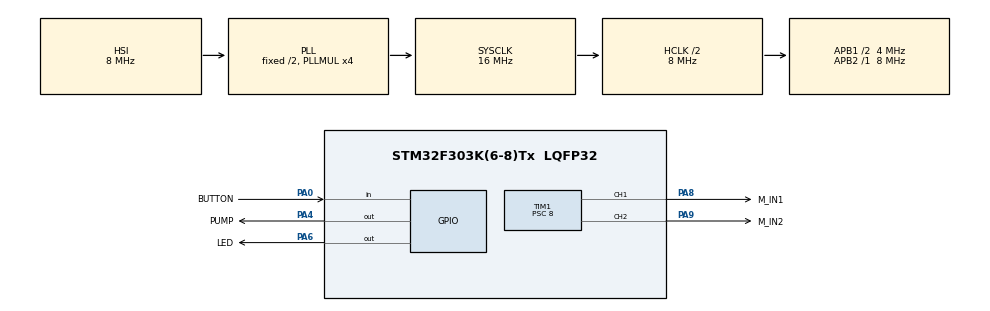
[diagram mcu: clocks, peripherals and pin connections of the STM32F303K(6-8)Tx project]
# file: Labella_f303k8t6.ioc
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Mcu.Family=STM32F3
Mcu.Name=STM32F303K(6-8)Tx
Mcu.Package=LQFP32
NVIC.PriorityGroup=NVIC_PRIORITYGROUP_4
PA0.GPIO_Label=BUTTON
PA0.Signal=GPIO_Input
PA13.Signal=SYS_JTMS-SWDIO
PA14.Signal=SYS_JTCK-SWCLK
PA4.GPIO_Label=PUMP
PA4.Signal=GPIO_Output
PA6.GPIO_Label=LED
PA6.Signal=GPIO_Output
PA8.GPIO_Label=M_IN1
PA8.Signal=S_TIM1_CH1
PA9.GPIO_Label=M_IN2
PA9.Signal=S_TIM1_CH2
PB6.Signal=USART1_TX
PB7.Signal=USART1_RX
ProjectManager.HeapSize=0x200
ProjectManager.StackSize=0x400
ProjectManager.TargetToolchain=STM32CubeIDE
RCC.AHBCLKDivider=RCC_SYSCLK_DIV2
RCC.AHBFreq_Value=8000000
RCC.APB1CLKDivider=RCC_HCLK_DIV2
RCC.APB1Freq_Value=4000000
RCC.APB1TimFreq_Value=8000000
RCC.APB2Freq_Value=8000000
RCC.APB2TimFreq_Value=8000000
RCC.CortexFreq_Value=8000000
RCC.HCLKFreq_Value=8000000
RCC.HSE_VALUE=8000000
RCC.HSI_VALUE=8000000
RCC.PLLMUL=RCC_PLL_MUL4
RCC.SYSCLKFreq_VALUE=16000000
RCC.SYSCLKSourceVirtual=RCC_SYSCLKSOURCE_PLLCLK
SH.S_TIM1_CH1.0=TIM1_CH1,PWM Generation1 CH1
SH.S_TIM1_CH2.0=TIM1_CH2,PWM Generation2 CH2
TIM1.Channel-PWM\ Generation1\ CH1=TIM_CHANNEL_1
TIM1.Channel-PWM\ Generation2\ CH2=TIM_CHANNEL_2
TIM1.OCPolarity_1=TIM_OCPOLARITY_LOW
TIM1.OCPolarity_2=TIM_OCPOLARITY_LOW
TIM1.Period=999
TIM1.Prescaler=8
TIM1.Pulse-PWM\ Generation1\ CH1=500
TIM1.Pulse-PWM\ Generation2\ CH2=500
board=custom

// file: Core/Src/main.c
/* USER CODE BEGIN Header */
/**
 ******************************************************************************
 * @file           : main.c
 * @brief          : Main program body
 ******************************************************************************
 * @attention
 *
 * Copyright (c) 2024 STMicroelectronics.
 * All rights reserved.
 *
 * This software is licensed under terms that can be found in the LICENSE file
 * in the root directory of this software component.
 * If no LICENSE file comes with this software, it is provided AS-IS.
 *
 ******************************************************************************
 */
/* USER CODE END Header */
#include "main.h"

/* USER CODE BEGIN Includes */
TIM_HandleTypeDef htim1;
#include "button.h"
#include "motor.h"
#include "pump.h"
#include "led.h"
/* USER CODE END Includes */

/* USER CODE BEGIN PTD */

#define  PERIOD_VALUE       (uint32_t)(444 - 1)  /* Period Value  */
#define  PULSE1_VALUE       (uint32_t)(PERIOD_VALUE/2)        /* Capture Compare 1 Value  */
#define  PULSE2_VALUE       (uint32_t)(PERIOD_VALUE*37.5/100) /* Capture Compare 2 Value  */
#define  PULSE3_VALUE       (uint32_t)(PERIOD_VALUE/4)        /* Capture Compare 3 Value  */
#define  PULSE4_VALUE       (uint32_t)(PERIOD_VALUE*12.5/100) /* Capture Compare 4 Value  */

/* USER CODE END PTD */

TIM_HandleTypeDef htim1;
TIM_OC_InitTypeDef sConfigOC;
STATE_t state = STATE_1;
uint8_t isButton = 0;
int time_duration = 5;
uint32_t last_action_time;
uint8_t flagFirstTime = 1;
uint32_t current_time;

/* USER CODE BEGIN PV */

/* Timer Output Compare Configuration Structure declaration */
TIM_OC_InitTypeDef sConfig;

/* Counter Prescaler value */

/* USER CODE END PV */

void SystemClock_Config(void);
static void MX_GPIO_Init(void);
static void MX_TIM1_Init(void);

int main(void)
{

	/* MCU Configuration--------------------------------------------------------*/

	/* Reset of all peripherals, Initializes the Flash interface and the Systick. */
	HAL_Init();

	/* Configure the system clock */
	SystemClock_Config();

	/* Initialize all configured peripherals */
	MX_GPIO_Init();
	MX_TIM1_Init();

	/* Infinite loop */
	/* USER CODE BEGIN WHILE */
	while (1)
	{
		button_handler();
		current_time = HAL_GetTick();

		switch(isButton){
		case 0:
		{
			break;
		}
		case 1:
		{
			switch (state)
			{
			case STATE_1:
			{
				led_on();
				pump_on();
				motorRight_on();
				motorLeft_off();
				last_action_time = HAL_GetTick();
				state = STATE_2;

				break;
			}
			case STATE_2:
			{
				if(flagFirstTime ==1)
				{
					last_action_time =HAL_GetTick();
					flagFirstTime = 0;
				}
				if((current_time - last_action_time)>= (TIME_DURATION_2))
				{
					flagFirstTime =1;
					motorRight_off();
					motorLeft_off();
					last_action_time = HAL_GetTick();
					state = STATE_3;
				}
				break;
			}
			case STATE_3:
			{
				if(flagFirstTime ==1)
				{
					last_action_time =HAL_GetTick();
					flagFirstTime = 0;
				}
				if((current_time - last_action_time)>= (TIME_DURATION_1))
				{
					flagFirstTime =1;
					motorRight_off();
					motorLeft_on();
					last_action_time = HAL_GetTick();
					state = STATE_4;
				}
				break;
			}
			case STATE_4:
			{
				if(flagFirstTime ==1)
				{
					last_action_time =HAL_GetTick();
					flagFirstTime = 0;
				}
				if((current_time - last_action_time)>=(TIME_DURATION_2))
				{
					flagFirstTime =1;
					led_off();
					pump_off();
					motorRight_off();
					motorLeft_off();
					last_action_time = 0;
					state = STATE_1;
					isButton = 0;
				}
				break;
			}
			}
			break;

		}
		case 2:
		{
			break;
		}
		case 3:
		{
			break;
		}
		}

		/* USER CODE END WHILE */

	}
}

void SystemClock_Config(void)
{
	RCC_OscInitTypeDef RCC_OscInitStruct = {0};
	RCC_ClkInitTypeDef RCC_ClkInitStruct = {0};
	RCC_PeriphCLKInitTypeDef PeriphClkInit = {0};

	/** Initializes the RCC Oscillators according to the specified parameters
	 * in the RCC_OscInitTypeDef structure.
	 */
	RCC_OscInitStruct.OscillatorType = RCC_OSCILLATORTYPE_HSI;
	RCC_OscInitStruct.HSIState = RCC_HSI_ON;
	RCC_OscInitStruct.HSICalibrationValue = RCC_HSICALIBRATION_DEFAULT;
	RCC_OscInitStruct.PLL.PLLState = RCC_PLL_ON;
	RCC_OscInitStruct.PLL.PLLSource = RCC_PLLSOURCE_HSI;
	RCC_OscInitStruct.PLL.PLLMUL = RCC_PLL_MUL4;
	if (HAL_RCC_OscConfig(&RCC_OscInitStruct) != HAL_OK)
	{
		Error_Handler();
	}

	/** Initializes the CPU, AHB and APB buses clocks
	 */
	RCC_ClkInitStruct.ClockType = RCC_CLOCKTYPE_HCLK|RCC_CLOCKTYPE_SYSCLK
			|RCC_CLOCKTYPE_PCLK1|RCC_CLOCKTYPE_PCLK2;
	RCC_ClkInitStruct.SYSCLKSource = RCC_SYSCLKSOURCE_PLLCLK;
	RCC_ClkInitStruct.AHBCLKDivider = RCC_SYSCLK_DIV2;
	RCC_ClkInitStruct.APB1CLKDivider = RCC_HCLK_DIV2;
	RCC_ClkInitStruct.APB2CLKDivider = RCC_HCLK_DIV1;

	if (HAL_RCC_ClockConfig(&RCC_ClkInitStruct, FLASH_LATENCY_0) != HAL_OK)
	{
		Error_Handler();
	}
	PeriphClkInit.PeriphClockSelection = RCC_PERIPHCLK_TIM1;
	PeriphClkInit.Tim1ClockSelection = RCC_TIM1CLK_HCLK;
	if (HAL_RCCEx_PeriphCLKConfig(&PeriphClkInit) != HAL_OK)
	{
		Error_Handler();
	}
}

static void MX_TIM1_Init(void)
{

	TIM_MasterConfigTypeDef sMasterConfig = {0};
	TIM_OC_InitTypeDef sConfigOC = {0};
	TIM_BreakDeadTimeConfigTypeDef sBreakDeadTimeConfig = {0};

	htim1.Instance = TIM1;
	htim1.Init.Prescaler = 8;
	htim1.Init.CounterMode = TIM_COUNTERMODE_UP;
	htim1.Init.Period = 999;
	htim1.Init.ClockDivision = TIM_CLOCKDIVISION_DIV1;
	htim1.Init.RepetitionCounter = 0;
	htim1.Init.AutoReloadPreload = TIM_AUTORELOAD_PRELOAD_DISABLE;
	if (HAL_TIM_PWM_Init(&htim1) != HAL_OK)
	{
		Error_Handler();
	}
	sMasterConfig.MasterOutputTrigger = TIM_TRGO_RESET;
	sMasterConfig.MasterOutputTrigger2 = TIM_TRGO2_RESET;
	sMasterConfig.MasterSlaveMode = TIM_MASTERSLAVEMODE_DISABLE;
	if (HAL_TIMEx_MasterConfigSynchronization(&htim1, &sMasterConfig) != HAL_OK)
	{
		Error_Handler();
	}
	sConfigOC.OCMode = TIM_OCMODE_PWM1;
	sConfigOC.Pulse = 500;
	sConfigOC.OCPolarity = TIM_OCPOLARITY_LOW;
	sConfigOC.OCNPolarity = TIM_OCNPOLARITY_HIGH;
	sConfigOC.OCFastMode = TIM_OCFAST_DISABLE;
	sConfigOC.OCIdleState = TIM_OCIDLESTATE_RESET;
	sConfigOC.OCNIdleState = TIM_OCNIDLESTATE_RESET;
	if (HAL_TIM_PWM_ConfigChannel(&htim1, &sConfigOC, TIM_CHANNEL_1) != HAL_OK)
	{
		Error_Handler();
	}
	if (HAL_TIM_PWM_ConfigChannel(&htim1, &sConfigOC, TIM_CHANNEL_2) != HAL_OK)
	{
		Error_Handler();
	}
	sBreakDeadTimeConfig.OffStateRunMode = TIM_OSSR_DISABLE;
	sBreakDeadTimeConfig.OffStateIDLEMode = TIM_OSSI_DISABLE;
	sBreakDeadTimeConfig.LockLevel = TIM_LOCKLEVEL_OFF;
	sBreakDeadTimeConfig.DeadTime = 0;
	sBreakDeadTimeConfig.BreakState = TIM_BREAK_DISABLE;
	sBreakDeadTimeConfig.BreakPolarity = TIM_BREAKPOLARITY_HIGH;
	sBreakDeadTimeConfig.BreakFilter = 0;
	sBreakDeadTimeConfig.Break2State = TIM_BREAK2_DISABLE;
	sBreakDeadTimeConfig.Break2Polarity = TIM_BREAK2POLARITY_HIGH;
	sBreakDeadTimeConfig.Break2Filter = 0;
	sBreakDeadTimeConfig.AutomaticOutput = TIM_AUTOMATICOUTPUT_DISABLE;
	if (HAL_TIMEx_ConfigBreakDeadTime(&htim1, &sBreakDeadTimeConfig) != HAL_OK)
	{
		Error_Handler();
	}
	HAL_TIM_MspPostInit(&htim1);

}

static void MX_GPIO_Init(void)
{
	GPIO_InitTypeDef GPIO_InitStruct = {0};

	/* GPIO Ports Clock Enable */
	__HAL_RCC_GPIOA_CLK_ENABLE();
	__HAL_RCC_GPIOB_CLK_ENABLE();

	/*Configure GPIO pin Output Level */
	HAL_GPIO_WritePin(GPIOA, PUMP_Pin|LED_Pin, GPIO_PIN_RESET);

	/*Configure GPIO pin : BUTTON_Pin */
	GPIO_InitStruct.Pin = BUTTON_Pin;
	GPIO_InitStruct.Mode = GPIO_MODE_INPUT;
	GPIO_InitStruct.Pull = GPIO_NOPULL;
	HAL_GPIO_Init(BUTTON_GPIO_Port, &GPIO_InitStruct);

	/*Configure GPIO pins : PUMP_Pin LED_Pin */
	GPIO_InitStruct.Pin = PUMP_Pin|LED_Pin;
	GPIO_InitStruct.Mode = GPIO_MODE_OUTPUT_PP;
	GPIO_InitStruct.Pull = GPIO_NOPULL;
	GPIO_InitStruct.Speed = GPIO_SPEED_FREQ_LOW;
	HAL_GPIO_Init(GPIOA, &GPIO_InitStruct);

	/*Configure GPIO pins : PB6 PB7 */
	GPIO_InitStruct.Pin = GPIO_PIN_6|GPIO_PIN_7;
	GPIO_InitStruct.Mode = GPIO_MODE_AF_PP;
	GPIO_InitStruct.Pull = GPIO_NOPULL;
	GPIO_InitStruct.Speed = GPIO_SPEED_FREQ_HIGH;
	GPIO_InitStruct.Alternate = GPIO_AF7_USART1;
	HAL_GPIO_Init(GPIOB, &GPIO_InitStruct);

}

void Error_Handler(void)
{
	__disable_irq();
	while (1)
	{
	}
}
